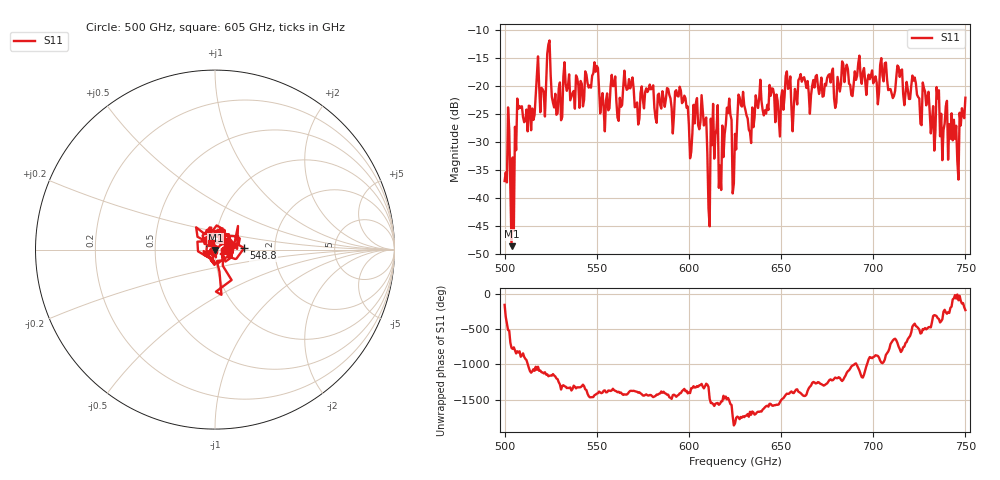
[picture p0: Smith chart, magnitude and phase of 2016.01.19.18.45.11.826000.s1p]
!Created with skrf (http://scikit-rf.org).
# GHz S RI R 50.0
!freq ReS11 ImS11
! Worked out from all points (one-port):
!   401 points, 500 GHz to 750 GHz, reference 50 ohm
!   lowest |S11| = -48.5 dB at 503.8 GHz (marker M1), VSWR 1.01, Z = 50.3 - j0.277 ohm
!   |S11| at or under -10 dB: start of sweep to end of sweep
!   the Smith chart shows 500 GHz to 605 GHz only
!   S11 on the Smith chart (normalised r, x): 500 GHz: 0.97, -0.01; 548.8 GHz: 1.39, +0.02; 605 GHz: 0.95, +0.07
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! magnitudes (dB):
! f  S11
! 500 GHz  -36.9
! 501.9 GHz  -23.8
! 503.8 GHz  -48.5
! 508.1 GHz  -23.6
! 515 GHz  -24.0
! 523.8 GHz  -12.6
! 527.5 GHz  -21.4
! 531.2 GHz  -25.5
! 548.8 GHz  -15.8
! 553.1 GHz  -21.3
! 558.8 GHz  -20.0
! 562.5 GHz  -22.1
! 593.8 GHz  -21.8
! 600.6 GHz  -32.9
! 605 GHz  -27.0
! 608.1 GHz  -27.0
! 611.2 GHz  -45.0
! 614.4 GHz  -28.7
! 617.5 GHz  -38.5
! 621.9 GHz  -22.3
! 625 GHz  -28.5
! 628.1 GHz  -23.4
! 633.8 GHz  -30.2
! 656.2 GHz  -28.1
! 687.5 GHz  -19.8
! 718.8 GHz  -20.6
! 745 GHz  -27.1
! 750 GHz  -22.1
